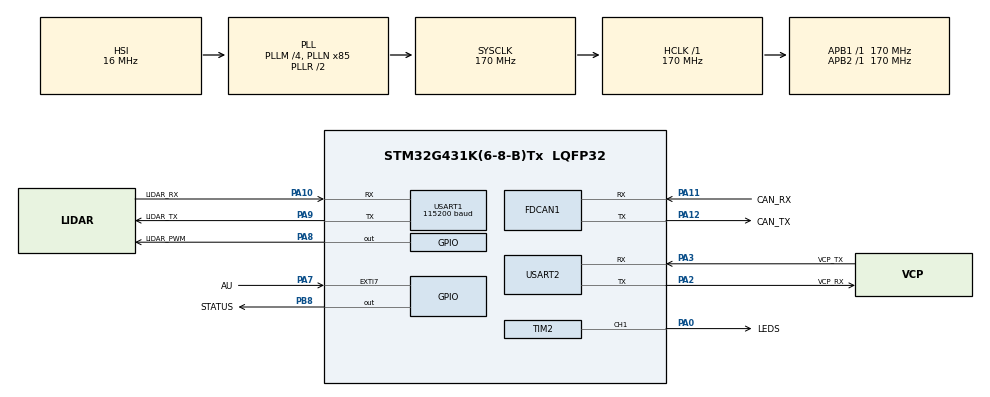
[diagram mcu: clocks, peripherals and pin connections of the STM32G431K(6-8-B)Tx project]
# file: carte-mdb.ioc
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FDCAN1.CalculateBaudRateNominal=2125000
FDCAN1.CalculateTimeBitNominal=470
FDCAN1.CalculateTimeQuantumNominal=94.11764705882354
Mcu.Family=STM32G4
Mcu.Name=STM32G431K(6-8-B)Tx
Mcu.Package=LQFP32
NVIC.PriorityGroup=NVIC_PRIORITYGROUP_4
NVIC.USART1_IRQn=true\:0\:0\:false\:false\:true\:true\:true\:true
PA0.GPIO_Label=LEDS
PA0.Signal=S_TIM2_CH1
PA10.GPIO_Label=LIDAR_RX
PA10.Mode=Asynchronous
PA10.Signal=USART1_RX
PA11.GPIO_Label=CAN_RX
PA11.Mode=FDCAN_Activate
PA11.Signal=FDCAN1_RX
PA12.GPIO_Label=CAN_TX
PA12.Mode=FDCAN_Activate
PA12.Signal=FDCAN1_TX
PA13.GPIO_Label=T_SWDIO
PA13.Mode=Trace_Asynchronous_SW
PA13.Signal=SYS_JTMS-SWDIO
PA14.GPIO_Label=T_SWCLK
PA14.Mode=Trace_Asynchronous_SW
PA14.Signal=SYS_JTCK-SWCLK
PA2.GPIO_Label=VCP_RX
PA2.Mode=Asynchronous
PA2.Signal=USART2_TX
PA3.GPIO_Label=VCP_TX
PA3.Mode=Asynchronous
PA3.Signal=USART2_RX
PA7.GPIO_Label=AU
PA7.GPIO_PuPd=GPIO_PULLDOWN
PA7.Signal=GPXTI7
PA8.GPIO_Label=LIDAR_PWM
PA8.Signal=GPIO_Output
PA9.GPIO_Label=LIDAR_TX
PA9.Mode=Asynchronous
PA9.Signal=USART1_TX
PB3.GPIO_Label=T_SWO
PB3.Mode=Trace_Asynchronous_SW
PB3.Signal=SYS_JTDO-SWO
PB8-BOOT0.GPIO_Label=STATUS
PB8-BOOT0.Signal=GPIO_Output
ProjectManager.HeapSize=0x200
ProjectManager.StackSize=0x400
ProjectManager.TargetToolchain=STM32CubeIDE
RCC.ADC12Freq_Value=170000000
RCC.AHBFreq_Value=170000000
RCC.APB1Freq_Value=170000000
RCC.APB1TimFreq_Value=170000000
RCC.APB2Freq_Value=170000000
RCC.APB2TimFreq_Value=170000000
RCC.CortexFreq_Value=170000000
RCC.EXTERNAL_CLOCK_VALUE=12288000
RCC.HCLKFreq_Value=170000000
RCC.HSE_VALUE=8000000
RCC.HSI48_VALUE=48000000
RCC.HSI_VALUE=16000000
RCC.LSE_VALUE=32768
RCC.PLLM=RCC_PLLM_DIV4
RCC.PLLN=85
RCC.SYSCLKFreq_VALUE=170000000
RCC.SYSCLKSource=RCC_SYSCLKSOURCE_PLLCLK
RCC.USBFreq_Value=170000000
RCC.VCOOutputFreq_Value=340000000
SH.S_TIM2_CH1.0=TIM2_CH1,PWM Generation1 CH1
TIM2.Channel-PWM\ Generation1\ CH1=TIM_CHANNEL_1
USART1.BaudRate=115200
USART1.RxPinLevelInvertParam=ADVFEATURE_RXINV_DISABLE
USART1.TxPinLevelInvertParam=ADVFEATURE_TXINV_DISABLE
USART1.VirtualMode-Asynchronous=VM_ASYNC
USART2.VirtualMode-Asynchronous=VM_ASYNC
USART2.WordLength=WORDLENGTH_8B
VP_SYS_VS_DBSignals.Mode=DisableDeadBatterySignals
board=NUCLEO-G431KB

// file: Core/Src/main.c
/* USER CODE BEGIN Header */
/**
  ******************************************************************************
  * @file           : main.c
  * @brief          : Main program body
  ******************************************************************************
  * @attention
  *
  * Copyright (c) 2024 STMicroelectronics.
  * All rights reserved.
  *
  * This software is licensed under terms that can be found in the LICENSE file
  * in the root directory of this software component.
  * If no LICENSE file comes with this software, it is provided AS-IS.
  *
  ******************************************************************************
  */
/* USER CODE END Header */
#include "main.h"

/* USER CODE BEGIN Includes */
#include <stdio.h>
#include "rplidar.h"
/* USER CODE END Includes */

FDCAN_HandleTypeDef hfdcan1;

TIM_HandleTypeDef htim2;

UART_HandleTypeDef huart1;
UART_HandleTypeDef huart2;

void SystemClock_Config(void);
static void MX_GPIO_Init(void);
static void MX_FDCAN1_Init(void);
static void MX_TIM2_Init(void);
static void MX_USART1_UART_Init(void);
static void MX_USART2_UART_Init(void);

int main(void)
{

  /* MCU Configuration--------------------------------------------------------*/

  /* Reset of all peripherals, Initializes the Flash interface and the Systick. */
  HAL_Init();

  /* Configure the system clock */
  SystemClock_Config();

  /* Initialize all configured peripherals */
  MX_GPIO_Init();
  MX_FDCAN1_Init();
  MX_TIM2_Init();
  MX_USART1_UART_Init();
  MX_USART2_UART_Init();
  /* USER CODE BEGIN 2 */

  HAL_GPIO_WritePin(LIDAR_PWM_GPIO_Port, LIDAR_PWM_Pin, GPIO_PIN_SET);

  HAL_Delay(2000);
// TODO #1
//  HAL_Delay(2000);
//  lidar_conf_data lidar_conf = get_lidar_conf(&huart1);

  HAL_Delay(2000);

  HAL_GPIO_WritePin(LIDAR_PWM_GPIO_Port, LIDAR_PWM_Pin, 0);

  /* USER CODE END 2 */

  /* Infinite loop */
  while (1)
  {

    /* USER CODE BEGIN 3 */
	  if (HAL_GPIO_ReadPin(AU_GPIO_Port, AU_Pin)) {
		  HAL_GPIO_WritePin(LIDAR_PWM_GPIO_Port, LIDAR_PWM_Pin, GPIO_PIN_SET);

		  // start scanning
		  descriptor res_desc;
		  scan_data res_data;
		  start_scan(&huart1, &res_desc);

		  while (HAL_GPIO_ReadPin(AU_GPIO_Port, AU_Pin)) {
			  get_res_data(&huart1, &res_data, &res_desc);
			  HAL_UART_Transmit(&huart2, (uint8_t *)&res_data, sizeof(res_data), 500);
		  }

		  stop(&huart1);
		  HAL_GPIO_WritePin(LIDAR_PWM_GPIO_Port, LIDAR_PWM_Pin, 0);
	  }
  }

  /* USER CODE END 3 */
}

void SystemClock_Config(void)
{
  RCC_OscInitTypeDef RCC_OscInitStruct = {0};
  RCC_ClkInitTypeDef RCC_ClkInitStruct = {0};

  /** Configure the main internal regulator output voltage
  */
  HAL_PWREx_ControlVoltageScaling(PWR_REGULATOR_VOLTAGE_SCALE1_BOOST);

  /** Initializes the RCC Oscillators according to the specified parameters
  * in the RCC_OscInitTypeDef structure.
  */
  RCC_OscInitStruct.OscillatorType = RCC_OSCILLATORTYPE_HSI;
  RCC_OscInitStruct.HSIState = RCC_HSI_ON;
  RCC_OscInitStruct.HSICalibrationValue = RCC_HSICALIBRATION_DEFAULT;
  RCC_OscInitStruct.PLL.PLLState = RCC_PLL_ON;
  RCC_OscInitStruct.PLL.PLLSource = RCC_PLLSOURCE_HSI;
  RCC_OscInitStruct.PLL.PLLM = RCC_PLLM_DIV4;
  RCC_OscInitStruct.PLL.PLLN = 85;
  RCC_OscInitStruct.PLL.PLLP = RCC_PLLP_DIV2;
  RCC_OscInitStruct.PLL.PLLQ = RCC_PLLQ_DIV2;
  RCC_OscInitStruct.PLL.PLLR = RCC_PLLR_DIV2;
  if (HAL_RCC_OscConfig(&RCC_OscInitStruct) != HAL_OK)
  {
    Error_Handler();
  }

  /** Initializes the CPU, AHB and APB buses clocks
  */
  RCC_ClkInitStruct.ClockType = RCC_CLOCKTYPE_HCLK|RCC_CLOCKTYPE_SYSCLK
                              |RCC_CLOCKTYPE_PCLK1|RCC_CLOCKTYPE_PCLK2;
  RCC_ClkInitStruct.SYSCLKSource = RCC_SYSCLKSOURCE_PLLCLK;
  RCC_ClkInitStruct.AHBCLKDivider = RCC_SYSCLK_DIV1;
  RCC_ClkInitStruct.APB1CLKDivider = RCC_HCLK_DIV1;
  RCC_ClkInitStruct.APB2CLKDivider = RCC_HCLK_DIV1;

  if (HAL_RCC_ClockConfig(&RCC_ClkInitStruct, FLASH_LATENCY_4) != HAL_OK)
  {
    Error_Handler();
  }
}

static void MX_FDCAN1_Init(void)
{

  hfdcan1.Instance = FDCAN1;
  hfdcan1.Init.ClockDivider = FDCAN_CLOCK_DIV1;
  hfdcan1.Init.FrameFormat = FDCAN_FRAME_CLASSIC;
  hfdcan1.Init.Mode = FDCAN_MODE_NORMAL;
  hfdcan1.Init.AutoRetransmission = DISABLE;
  hfdcan1.Init.TransmitPause = DISABLE;
  hfdcan1.Init.ProtocolException = DISABLE;
  hfdcan1.Init.NominalPrescaler = 16;
  hfdcan1.Init.NominalSyncJumpWidth = 1;
  hfdcan1.Init.NominalTimeSeg1 = 2;
  hfdcan1.Init.NominalTimeSeg2 = 2;
  hfdcan1.Init.DataPrescaler = 1;
  hfdcan1.Init.DataSyncJumpWidth = 1;
  hfdcan1.Init.DataTimeSeg1 = 1;
  hfdcan1.Init.DataTimeSeg2 = 1;
  hfdcan1.Init.StdFiltersNbr = 0;
  hfdcan1.Init.ExtFiltersNbr = 0;
  hfdcan1.Init.TxFifoQueueMode = FDCAN_TX_FIFO_OPERATION;
  if (HAL_FDCAN_Init(&hfdcan1) != HAL_OK)
  {
    Error_Handler();
  }

}

static void MX_TIM2_Init(void)
{

  TIM_MasterConfigTypeDef sMasterConfig = {0};
  TIM_OC_InitTypeDef sConfigOC = {0};

  htim2.Instance = TIM2;
  htim2.Init.Prescaler = 0;
  htim2.Init.CounterMode = TIM_COUNTERMODE_UP;
  htim2.Init.Period = 4.294967295E9;
  htim2.Init.ClockDivision = TIM_CLOCKDIVISION_DIV1;
  htim2.Init.AutoReloadPreload = TIM_AUTORELOAD_PRELOAD_DISABLE;
  if (HAL_TIM_PWM_Init(&htim2) != HAL_OK)
  {
    Error_Handler();
  }
  sMasterConfig.MasterOutputTrigger = TIM_TRGO_RESET;
  sMasterConfig.MasterSlaveMode = TIM_MASTERSLAVEMODE_DISABLE;
  if (HAL_TIMEx_MasterConfigSynchronization(&htim2, &sMasterConfig) != HAL_OK)
  {
    Error_Handler();
  }
  sConfigOC.OCMode = TIM_OCMODE_PWM1;
  sConfigOC.Pulse = 0;
  sConfigOC.OCPolarity = TIM_OCPOLARITY_HIGH;
  sConfigOC.OCFastMode = TIM_OCFAST_DISABLE;
  if (HAL_TIM_PWM_ConfigChannel(&htim2, &sConfigOC, TIM_CHANNEL_1) != HAL_OK)
  {
    Error_Handler();
  }
  HAL_TIM_MspPostInit(&htim2);

}

static void MX_USART1_UART_Init(void)
{

  huart1.Instance = USART1;
  huart1.Init.BaudRate = 115200;
  huart1.Init.WordLength = UART_WORDLENGTH_8B;
  huart1.Init.StopBits = UART_STOPBITS_1;
  huart1.Init.Parity = UART_PARITY_NONE;
  huart1.Init.Mode = UART_MODE_TX_RX;
  huart1.Init.HwFlowCtl = UART_HWCONTROL_NONE;
  huart1.Init.OverSampling = UART_OVERSAMPLING_16;
  huart1.Init.OneBitSampling = UART_ONE_BIT_SAMPLE_DISABLE;
  huart1.Init.ClockPrescaler = UART_PRESCALER_DIV1;
  huart1.AdvancedInit.AdvFeatureInit = UART_ADVFEATURE_NO_INIT;
  if (HAL_UART_Init(&huart1) != HAL_OK)
  {
    Error_Handler();
  }
  if (HAL_UARTEx_SetTxFifoThreshold(&huart1, UART_TXFIFO_THRESHOLD_1_8) != HAL_OK)
  {
    Error_Handler();
  }
  if (HAL_UARTEx_SetRxFifoThreshold(&huart1, UART_RXFIFO_THRESHOLD_1_8) != HAL_OK)
  {
    Error_Handler();
  }
  if (HAL_UARTEx_DisableFifoMode(&huart1) != HAL_OK)
  {
    Error_Handler();
  }

}

static void MX_USART2_UART_Init(void)
{

  huart2.Instance = USART2;
  huart2.Init.BaudRate = 115200;
  huart2.Init.WordLength = UART_WORDLENGTH_8B;
  huart2.Init.StopBits = UART_STOPBITS_1;
  huart2.Init.Parity = UART_PARITY_NONE;
  huart2.Init.Mode = UART_MODE_TX_RX;
  huart2.Init.HwFlowCtl = UART_HWCONTROL_NONE;
  huart2.Init.OverSampling = UART_OVERSAMPLING_16;
  huart2.Init.OneBitSampling = UART_ONE_BIT_SAMPLE_DISABLE;
  huart2.Init.ClockPrescaler = UART_PRESCALER_DIV1;
  huart2.AdvancedInit.AdvFeatureInit = UART_ADVFEATURE_NO_INIT;
  if (HAL_UART_Init(&huart2) != HAL_OK)
  {
    Error_Handler();
  }
  if (HAL_UARTEx_SetTxFifoThreshold(&huart2, UART_TXFIFO_THRESHOLD_1_8) != HAL_OK)
  {
    Error_Handler();
  }
  if (HAL_UARTEx_SetRxFifoThreshold(&huart2, UART_RXFIFO_THRESHOLD_1_8) != HAL_OK)
  {
    Error_Handler();
  }
  if (HAL_UARTEx_DisableFifoMode(&huart2) != HAL_OK)
  {
    Error_Handler();
  }

}

static void MX_GPIO_Init(void)
{
  GPIO_InitTypeDef GPIO_InitStruct = {0};

  /* GPIO Ports Clock Enable */
  __HAL_RCC_GPIOA_CLK_ENABLE();
  __HAL_RCC_GPIOB_CLK_ENABLE();

  /*Configure GPIO pin Output Level */
  HAL_GPIO_WritePin(LIDAR_PWM_GPIO_Port, LIDAR_PWM_Pin, GPIO_PIN_RESET);

  /*Configure GPIO pin Output Level */
  HAL_GPIO_WritePin(STATUS_GPIO_Port, STATUS_Pin, GPIO_PIN_RESET);

  /*Configure GPIO pin : AU_Pin */
  GPIO_InitStruct.Pin = AU_Pin;
  GPIO_InitStruct.Mode = GPIO_MODE_IT_RISING;
  GPIO_InitStruct.Pull = GPIO_PULLDOWN;
  HAL_GPIO_Init(AU_GPIO_Port, &GPIO_InitStruct);

  /*Configure GPIO pin : LIDAR_PWM_Pin */
  GPIO_InitStruct.Pin = LIDAR_PWM_Pin;
  GPIO_InitStruct.Mode = GPIO_MODE_OUTPUT_PP;
  GPIO_InitStruct.Pull = GPIO_NOPULL;
  GPIO_InitStruct.Speed = GPIO_SPEED_FREQ_LOW;
  HAL_GPIO_Init(LIDAR_PWM_GPIO_Port, &GPIO_InitStruct);

  /*Configure GPIO pin : STATUS_Pin */
  GPIO_InitStruct.Pin = STATUS_Pin;
  GPIO_InitStruct.Mode = GPIO_MODE_OUTPUT_PP;
  GPIO_InitStruct.Pull = GPIO_NOPULL;
  GPIO_InitStruct.Speed = GPIO_SPEED_FREQ_LOW;
  HAL_GPIO_Init(STATUS_GPIO_Port, &GPIO_InitStruct);

}

void Error_Handler(void)
{
  __disable_irq();
  while (1)
  {
  }
}
